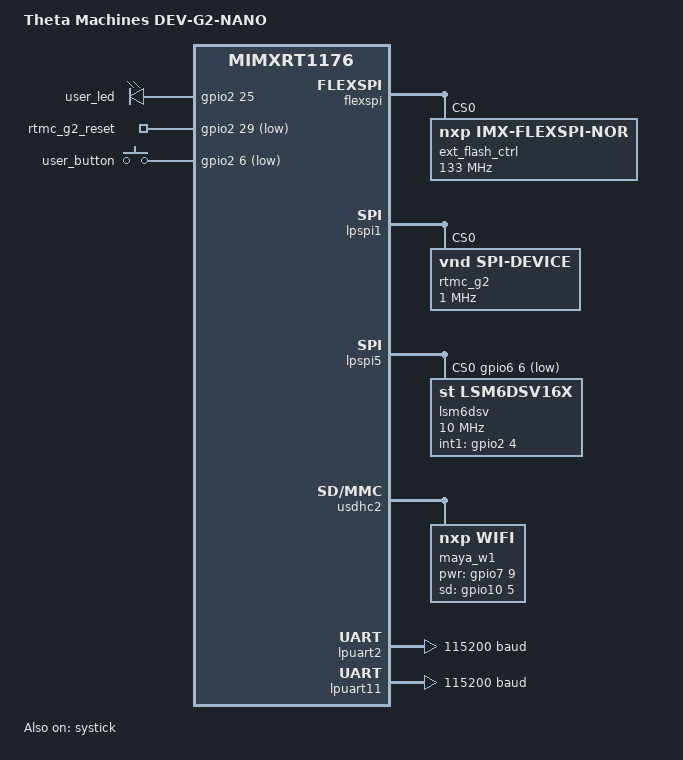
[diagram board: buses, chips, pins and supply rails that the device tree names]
/*
 * Copyright 2026 Theta Machines
 *
 * SPDX-License-Identifier: Apache-2.0
 */

/dts-v1/;

#include <nxp/imxrt/nxp_rt1170_cm7.dtsi>
#include <zephyr/dt-bindings/input/input-event-codes.h>
#include <zephyr/dt-bindings/sensor/lsm6dsv16x.h>

#include "dev_g2_nano-pinctrl.dtsi"

/* Delete SoC's existing OCRAM definitions (redefine in &ram) */
/delete-node/ &ocram;
/delete-node/ &ocram1;
/delete-node/ &ocram2;

/ {
    model = "Theta Machines DEV-G2-NANO";
    compatible = "nxp,mimxrt1176";

    aliases {
        led0 = &user_led;
        sw0 = &user_button;
        imu0 = &lsm6dsv;
        rtmc-g2 = &rtmc_g2;
        rtmc-g2-reset = &rtmc_g2_reset;
    };

    chosen {
        zephyr,flash = &w25q64jw;
        zephyr,flash-controller = &ext_flash_ctrl;

        zephyr,sram = &sram;
        zephyr,itcm = &itcm;
        zephyr,dtcm = &dtcm;

        zephyr,console = &lpuart11;
        zephyr,shell-uart = &lpuart11;
    };

    leds {
        compatible = "gpio-leds";

        user_led: led0 {
            gpios = <&gpio2 25 GPIO_ACTIVE_HIGH>;
        };

        /* TODO: this shouldn't be in leds */
        rtmc_g2_reset: rtmc-g2-reset {
            gpios = <&gpio2 29 GPIO_ACTIVE_LOW>;
        };
    };

    gpio_keys {
        compatible = "gpio-keys";

        user_button: button0 {
            gpios = <&gpio2 6 GPIO_ACTIVE_LOW>;
            zephyr,code = <INPUT_KEY_0>;
        };
    };

    soc {
        sram: sram@20200000 {
            compatible = "mmio-sram";
            reg = <0x20200000 DT_SIZE_K(1536)>;
        };
    };
};

/* FlexSPI channel to flash memory */
&flexspi {
    status = "okay";
    ahb-prefetch;
    ahb-read-addr-opt;
    reg = <0x400cc000 0x4000>, <0x30000000 DT_SIZE_M(8)>;

    ext_flash_ctrl: flash-controller@0 {
        status = "okay";
        compatible = "nxp,imx-flexspi-nor";
        size = <DT_SIZE_M(8*8)>;
        reg = <0>;
        spi-max-frequency = <DT_FREQ_M(133)>;
        jedec-id = [ef 60 17];

        #address-cells = <1>;
        #size-cells = <1>;
        ranges = <0x0 0x30000000 DT_SIZE_M(8)>;

        w25q64jw: flash@0 {
            compatible = "soc-nv-flash";
            reg = <0x0 DT_SIZE_M(8)>;
            erase-block-size = <DT_SIZE_K(4)>;
            write-block-size = <1>;
        };
    };
};

/* SPI channel to RTMC Core */
&lpspi1 {
    status = "okay";
    pinctrl-0 = <&pinmux_lpspi1>;
    pinctrl-names = "default";

    rtmc_g2: rtmc-g2@0 {
        compatible = "vnd,spi-device";
        reg = <0>; /* Use CS 0 */
        spi-max-frequency = <DT_FREQ_M(1)>;
    };
};

/* SPI channel to IMU and magnetometer */
&lpspi5 {
    status = "okay";
    pinctrl-0 = <&pinmux_lpspi5>;
    pinctrl-names = "default";

    /* Set CS pins */
    cs-gpios = <&gpio6 6 GPIO_ACTIVE_LOW>;

    /* IMU */
    lsm6dsv: lsm6dsv@0 {
        status = "okay";
        compatible = "st,lsm6dsv16x";
        reg = <0>; /* Use cs-gpios[0] */
        spi-max-frequency = <DT_FREQ_M(10)>;

        int1-gpios = <&gpio2 4 (GPIO_ACTIVE_HIGH | GPIO_PULL_DOWN)>;

        accel-range = <LSM6DSV16X_DT_FS_4G>;
        accel-odr = <LSM6DSVXXX_DT_ODR_AT_60Hz>;

        gyro-range = <LSM6DSV16X_DT_FS_500DPS>;
        gyro-odr = <LSM6DSVXXX_DT_ODR_AT_60Hz>;

        sflp-odr = <LSM6DSVXXX_DT_SFLP_ODR_AT_60Hz>;
        sflp-fifo-enable = <LSM6DSVXXX_DT_SFLP_FIFO_GAME_ROTATION>;

        /*
            Generate interrupt (int1-gpio) when FIFO contains `fifo-watermark`
            rows.

            Approximate interrupt rate (f_int):
                f_int = sflp-odr / fifo-watermark

            For example,
                f_int = (60 Hz) / (2 rows)
                f_int = 30 Hz
        */
        fifo-watermark = <2>;
    };
};

/* SDIO channel to MAYA-W1 */
&usdhc2 {
    status = "okay";
    pinctrl-0 = <&pinmux_usdhc2>;
    pinctrl-names = "default";

    /* 50 MHz for DDR50 mode */
    max-bus-freq = <DT_FREQ_M(50)>;

    maya_w1: maya-w1 {
        compatible = "nxp,wifi";
        status = "okay";

        /*
            Module power-down pin (PDn)

            Use GPIO_ACTIVE_HIGH because nxp_wifi_drv.c already uses inverted
            logic
        */
        pwr-gpios = <&gpio7 9 GPIO_ACTIVE_HIGH>;

        /* Module WLAN_RESET pin */
        sd-gpios = <&gpio10 5 GPIO_ACTIVE_HIGH>;
    };
};

/* UART channel to MAYA-W1 */
&lpuart2 {
    status = "okay";
    current-speed = <115200>;
    pinctrl-0 = <&pinmux_lpuart2>;
    pinctrl-names = "default";
};

/* UART channel to USB/UART bridge */
&lpuart11 {
    status = "okay";
    current-speed = <115200>;
    pinctrl-0 = <&pinmux_lpuart11>;
    pinctrl-names = "default";
};

/* Enable M7 core's SysTick timer */
&systick {
    status = "okay";
};
